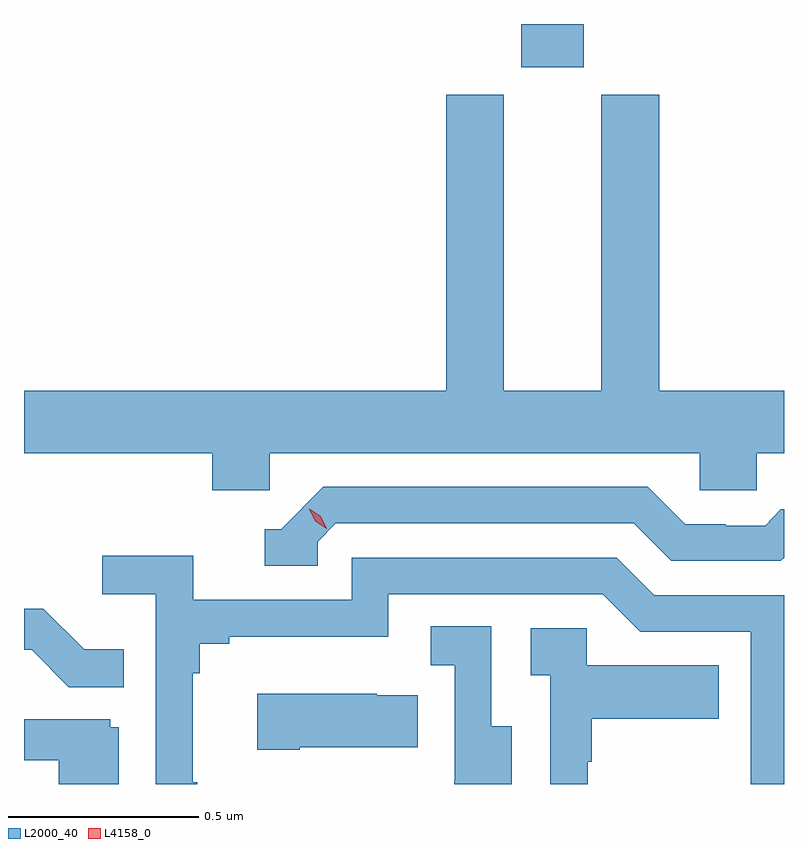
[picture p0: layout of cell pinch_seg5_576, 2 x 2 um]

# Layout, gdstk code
import gdstk
lib = gdstk.Library(unit=1e-6, precision=1e-09)
def R(c, l, rs):  # rectangles x0, y0, x1, y1
    for r in rs: c.add(gdstk.rectangle(r[:2], r[2:], *l))
def P(c, l, *ps):  # polygons
    for p in ps: c.add(gdstk.Polygon(p, *l))
L2000_40 = (2000, 40)
L4158_0 = (4158, 0)

pinch_seg5_576 = lib.new_cell('pinch_seg5_576')
R(pinch_seg5_576, L2000_40, [(1099.184,869.763,1099.348,869.877)])
P(pinch_seg5_576, L2000_40, [(1099.653,868.65),(1099.803,868.65),(1099.803,868.748),(1099.875,868.748),(1099.875,868.912),(1099.547,868.912),(1099.547,869.691),(1099.394,869.691),(1099.394,868.912),(1099.138,868.912),(1099.138,869.691),(1098.986,869.691),(1098.986,868.912),(1097.875,868.912),(1097.875,868.748),(1098.371,868.748),(1098.371,868.65),(1098.522,868.65),(1098.522,868.748),(1099.653,868.748)],
  [(1098.648,868.515),(1098.696,868.563),(1099.479,868.563),(1099.578,868.464),(1099.867,868.464),(1099.875,868.472),(1099.875,868.6),(1099.867,868.6),(1099.825,868.557),(1099.722,868.557),(1099.722,868.56),(1099.615,868.56),(1099.516,868.659),(1098.663,868.659),(1098.552,868.548),(1098.509,868.548),(1098.509,868.452),(1098.648,868.452)],
  [(1098.331,867.881),(1098.319,867.881),(1098.319,868.169),(1098.338,868.169),(1098.338,868.246),(1098.415,868.246),(1098.415,868.265),(1098.834,868.265),(1098.834,868.377),(1099.398,868.377),(1099.497,868.278),(1099.788,868.278),(1099.788,867.877),(1099.875,867.877),(1099.875,868.374),(1099.534,868.374),(1099.435,868.473),(1098.738,868.473),(1098.738,868.362),(1098.32,868.362),(1098.32,868.478),(1098.081,868.478),(1098.081,868.376),(1098.222,868.376),(1098.222,867.877),(1098.331,867.877)],
  [(1098.137,868.231),(1098.033,868.231),(1097.926,868.338),(1097.875,868.338),(1097.875,868.23),(1097.895,868.23),(1097.993,868.132),(1098.137,868.132)],
  [(1099.159,868.029),(1099.104,868.029),(1099.104,868.292),(1098.945,868.292),(1098.945,868.189),(1099.008,868.189),(1099.008,867.885),(1099.007,867.885),(1099.007,867.877),(1099.159,867.877)],
  [(1099.359,867.935),(1099.369,867.935),(1099.369,868.049),(1099.703,868.049),(1099.703,868.189),(1099.356,868.189),(1099.356,868.287),(1099.209,868.287),(1099.209,868.163),(1099.26,868.163),(1099.26,867.877),(1099.359,867.877)],
  [(1098.601,867.974),(1098.911,867.974),(1098.911,868.111),(1098.803,868.111),(1098.803,868.114),(1098.489,868.114),(1098.489,867.967),(1098.601,867.967)],
  [(1098.124,868.026),(1098.102,868.026),(1098.102,868.047),(1097.875,868.047),(1097.875,867.939),(1097.966,867.939),(1097.966,867.877),(1098.124,867.877)])
P(pinch_seg5_576, L4158_0, [(1098.672,868.549),(1098.641,868.569),(1098.626,868.602),(1098.626,868.602),(1098.626,868.602),(1098.656,868.582),(1098.672,868.549),(1098.672,868.549)])

lib.write_gds('pinch_seg5_576.gds')
